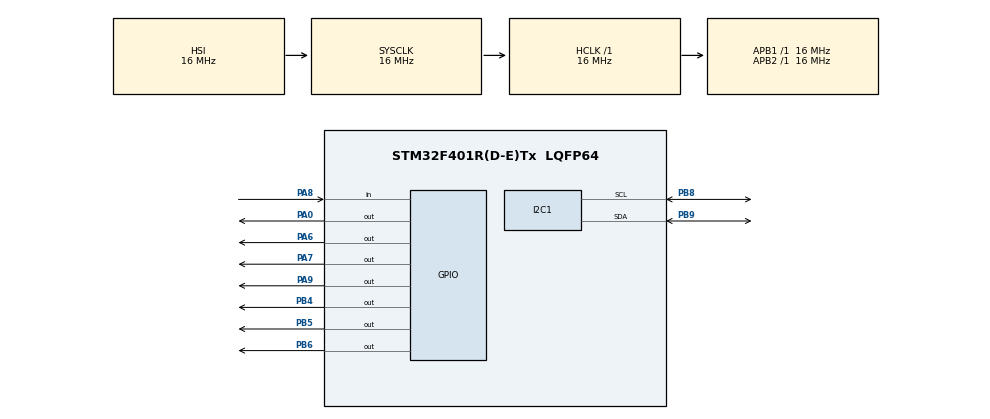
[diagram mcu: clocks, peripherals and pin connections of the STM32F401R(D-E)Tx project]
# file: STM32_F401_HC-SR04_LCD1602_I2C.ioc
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Mcu.Family=STM32F4
Mcu.Name=STM32F401R(D-E)Tx
Mcu.Package=LQFP64
NVIC.PriorityGroup=NVIC_PRIORITYGROUP_4
PA0-WKUP.PinState=GPIO_PIN_SET
PA0-WKUP.Signal=GPIO_Output
PA13.Mode=Serial_Wire
PA13.Signal=SYS_JTMS-SWDIO
PA14.Mode=Serial_Wire
PA14.Signal=SYS_JTCK-SWCLK
PA6.Signal=GPIO_Output
PA7.Signal=GPIO_Output
PA8.Signal=GPIO_Input
PA9.Signal=GPIO_Output
PB4.Signal=GPIO_Output
PB5.Signal=GPIO_Output
PB6.Signal=GPIO_Output
PB8.Mode=I2C
PB8.Signal=I2C1_SCL
PB9.Mode=I2C
PB9.Signal=I2C1_SDA
ProjectManager.HeapSize=0x200
ProjectManager.StackSize=0x400
ProjectManager.TargetToolchain=STM32CubeIDE
RCC.AHBFreq_Value=16000000
RCC.APB1Freq_Value=16000000
RCC.APB2Freq_Value=16000000
RCC.CortexFreq_Value=16000000
RCC.HSE_VALUE=25000000
RCC.HSI_VALUE=16000000
RCC.LSE_VALUE=32768
RCC.SYSCLKFreq_VALUE=16000000
RCC.VCOOutputFreq_Value=192000000
TIM2.Period=65535
TIM2.Prescaler=15
VP_TIM2_VS_ClockSourceINT.Mode=Internal
board=custom

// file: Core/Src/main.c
/* USER CODE BEGIN Header */
/**
  ******************************************************************************
  * @file           : main.c
  * @brief          : Main program body
  ******************************************************************************
  * @attention
  *
  * Copyright (c) 2025 STMicroelectronics.
  * All rights reserved.
  *
  * This software is licensed under terms that can be found in the LICENSE file
  * in the root directory of this software component.
  * If no LICENSE file comes with this software, it is provided AS-IS.
  *
  ******************************************************************************
  */
/* USER CODE END Header */
#include "main.h"

/* USER CODE BEGIN Includes */
#include <stdio.h>
#include <string.h>
#include "../../DelayMicro/Inc/delay_micro.h"
#include "../../Hc_Sr04/Inc/hc_sr04.h"
#include "../../Lcd1602_i2c/Inc/lcd1602_i2c.h"
#include "../../Leds_control/Inc/leds_control.h"
#include "stm32f4xx_hal.h"
/* USER CODE END Includes */

I2C_HandleTypeDef hi2c1;

TIM_HandleTypeDef htim2;

/* USER CODE BEGIN PV */
uint32_t distance  = 0;
/* USER CODE END PV */

void SystemClock_Config(void);
static void MX_GPIO_Init(void);
static void MX_TIM2_Init(void);
static void MX_I2C1_Init(void);

/* USER CODE BEGIN 0 */

// Display 2 messages on LCD1602
static void DisplayMessagesOnLCD1602(uint8_t position1, char * message1, uint8_t position2, char * message2)
{
    Lcd1602ScreenClear();
    Lcd1602SetCursor(0, position1);
    Lcd1602WriteString(message1);
    Lcd1602SetCursor(1, position2);
    Lcd1602WriteString(message2);
}
/* USER CODE END 0 */

int main(void)
{

  /* MCU Configuration--------------------------------------------------------*/

  /* Reset of all peripherals, Initializes the Flash interface and the Systick. */
  HAL_Init();

  /* Configure the system clock */
  SystemClock_Config();

  /* USER CODE BEGIN SysInit */
    // Initialize TIM2 to use for micro-delays
    TIM2MicrosecondsDelayInit();
    // Set TIM handle pointer
    HcSr04SetTimHandlePointer(&htim2);
    // Set GPIO for the HC-SR04 trigger pin
    HC_SR04_GpioItem trigger_gpio_item = {.gpio_type = GPIOA, .gpio_pin = GPIO_PIN_9};
    HcSr04SetGpioTrigger(trigger_gpio_item);
    // Set GPIO for the HC-SR04 echo pin
    HC_SR04_GpioItem echo_gpio_item = {.gpio_type = GPIOA, .gpio_pin = GPIO_PIN_8};
    HcSr04SetGpioEcho(echo_gpio_item);

    // Configure GPIO for red, yellow and green external LEDs
    LedGpioControlLine red_led = {.gpio_type = GPIOB, .gpio_pin = GPIO_PIN_4};
    LedGpioControlLine yellow_led = {.gpio_type = GPIOB, .gpio_pin = GPIO_PIN_5};
    LedGpioControlLine green_led = {.gpio_type = GPIOB, .gpio_pin = GPIO_PIN_6};
    LedsControlConfigureLedsGPIOs(red_led, yellow_led, green_led);
  /* USER CODE END SysInit */

  /* Initialize all configured peripherals */
  MX_GPIO_Init();
  MX_TIM2_Init();
  MX_I2C1_Init();
  /* USER CODE BEGIN 2 */
    // Initiate the trigger pin of the Ultrasonic Ranging Module
    HAL_GPIO_WritePin(trigger_gpio_item.gpio_type, trigger_gpio_item.gpio_pin, GPIO_PIN_RESET);

    // Set LCD1602 Interface type into I2C
    Lcd1602SetInterfaceType(LCD1602_I2C);

    // Set the LCD1602 Display's communication data bus into I2C mode
	GpioItem lcd1602_gpio_data_bus[] =
	{
        {GPIOB, GPIO_PIN_8},  // SCL
        {GPIOB, GPIO_PIN_9},  // SDA
        UNDEFINED_GPIO,
        UNDEFINED_GPIO,
        UNDEFINED_GPIO,
        UNDEFINED_GPIO,
        UNDEFINED_GPIO,
        UNDEFINED_GPIO
    };
    Lcd1602ConfigureI2C(lcd1602_gpio_data_bus);

    // Prepare the initial messages for the LCD1602 Display
    char message1[100];
    char message2[100];
    strcpy(message1,  " *** STM32 ***  ");
    strcpy(message2, "HCSR04 connected");

    // Display the initial messages on LCD1602 for 3 seconds
    DisplayMessagesOnLCD1602(1, message1, 0, message2);
    TIM2MillisecondsDelay(3000);

    /* USER CODE END 2 */

  /* Infinite loop */
  /* USER CODE BEGIN WHILE */
    strcpy(message1,  "*** HC-SR04 ***");
    char distance_str[16];
    while (1)
    {
        // Request the Ultrasonic Ranging Module to evaluate the distance to the object
    	HcSr04Triggert10usHighLevelSignal();
        // Get the distance
    	int8_t result = HcSr04ReadDistance(&distance);
        // Parse the result
    	if (!result)
    	{
            // The echo pulse signal was received by the Ultrasonic Ranging Module in time
    		// Set LEDs' status on distance
    		LedsControlSetLedsOnDistance(distance);
    		// Show the distance on LCD1602
    		sprintf(distance_str, "L = %lu cm", distance);
    	    DisplayMessagesOnLCD1602(0, message1, 3, distance_str);
    	}
    	else if (result > 0)
    	{
            // The distance between the Ultrasonic Ranging Module and the object can not be defined (> MAX_RANGE)
    		// Set LED status according to distance from object
    		LedsControlSetLedsOnDistance(SAFE_DISTANCE);
    		// Show that the distance is greater than Max Range of HC-SR04 on LCD1602
    		sprintf(distance_str, "L > %u cm", MAX_RANGE);
            DisplayMessagesOnLCD1602(0, message1, 3, distance_str);
    	}
    	else if ((result < 0) && (distance == 1))
    	{
            // The distance between the Ultrasonic Ranging Module and the object can not be defined (< MIN_RANGE)
    		// Set LEDs' status according with dangerous distance from object
    		LedsControlSetLedsOnDistance(DANGEROUS_DISTANCE);
    		// Show the distance is less than Min Range of HC-SR04 on LCD1602
    		sprintf(distance_str, "L < %u cm", MIN_RANGE);
    		DisplayMessagesOnLCD1602(0, message1, 4, distance_str);
    	}
    	else if (result < 0)
    	{
    	    // Ultrasonic Ranging Module did not respond
    		// Set LEDs' status according with dangerous distance from object
    		LedsControlSetLedsOnDistance(DANGEROUS_DISTANCE);
    		// Show the Ultrasonic Ranging Module HC-SR04 did not respond
    		sprintf(distance_str, "Did not respond");
    		DisplayMessagesOnLCD1602(0, message1, 4, distance_str);
    	}
    	TIM2MillisecondsDelay(500);
    	// Switch LEDs' OFF
    	LedsControlSwitchLedsOff();
    	TIM2MillisecondsDelay(500);
    /* USER CODE END WHILE */

  }
}

void SystemClock_Config(void)
{
  RCC_OscInitTypeDef RCC_OscInitStruct = {0};
  RCC_ClkInitTypeDef RCC_ClkInitStruct = {0};

  /** Configure the main internal regulator output voltage
  */
  __HAL_RCC_PWR_CLK_ENABLE();
  __HAL_PWR_VOLTAGESCALING_CONFIG(PWR_REGULATOR_VOLTAGE_SCALE2);

  /** Initializes the RCC Oscillators according to the specified parameters
  * in the RCC_OscInitTypeDef structure.
  */
  RCC_OscInitStruct.OscillatorType = RCC_OSCILLATORTYPE_HSI;
  RCC_OscInitStruct.HSIState = RCC_HSI_ON;
  RCC_OscInitStruct.HSICalibrationValue = RCC_HSICALIBRATION_DEFAULT;
  RCC_OscInitStruct.PLL.PLLState = RCC_PLL_NONE;
  if (HAL_RCC_OscConfig(&RCC_OscInitStruct) != HAL_OK)
  {
    Error_Handler();
  }

  /** Initializes the CPU, AHB and APB buses clocks
  */
  RCC_ClkInitStruct.ClockType = RCC_CLOCKTYPE_HCLK|RCC_CLOCKTYPE_SYSCLK
                              |RCC_CLOCKTYPE_PCLK1|RCC_CLOCKTYPE_PCLK2;
  RCC_ClkInitStruct.SYSCLKSource = RCC_SYSCLKSOURCE_HSI;
  RCC_ClkInitStruct.AHBCLKDivider = RCC_SYSCLK_DIV1;
  RCC_ClkInitStruct.APB1CLKDivider = RCC_HCLK_DIV1;
  RCC_ClkInitStruct.APB2CLKDivider = RCC_HCLK_DIV1;

  if (HAL_RCC_ClockConfig(&RCC_ClkInitStruct, FLASH_LATENCY_0) != HAL_OK)
  {
    Error_Handler();
  }
}

static void MX_I2C1_Init(void)
{

  hi2c1.Instance = I2C1;
  hi2c1.Init.ClockSpeed = 100000;
  hi2c1.Init.DutyCycle = I2C_DUTYCYCLE_2;
  hi2c1.Init.OwnAddress1 = 0;
  hi2c1.Init.AddressingMode = I2C_ADDRESSINGMODE_7BIT;
  hi2c1.Init.DualAddressMode = I2C_DUALADDRESS_DISABLE;
  hi2c1.Init.OwnAddress2 = 0;
  hi2c1.Init.GeneralCallMode = I2C_GENERALCALL_DISABLE;
  hi2c1.Init.NoStretchMode = I2C_NOSTRETCH_DISABLE;
  if (HAL_I2C_Init(&hi2c1) != HAL_OK)
  {
    Error_Handler();
  }

}

static void MX_TIM2_Init(void)
{

  TIM_ClockConfigTypeDef sClockSourceConfig = {0};
  TIM_MasterConfigTypeDef sMasterConfig = {0};

  htim2.Instance = TIM2;
  htim2.Init.Prescaler = 15;
  htim2.Init.CounterMode = TIM_COUNTERMODE_UP;
  htim2.Init.Period = 65535;
  htim2.Init.ClockDivision = TIM_CLOCKDIVISION_DIV1;
  htim2.Init.AutoReloadPreload = TIM_AUTORELOAD_PRELOAD_DISABLE;
  if (HAL_TIM_Base_Init(&htim2) != HAL_OK)
  {
    Error_Handler();
  }
  sClockSourceConfig.ClockSource = TIM_CLOCKSOURCE_INTERNAL;
  if (HAL_TIM_ConfigClockSource(&htim2, &sClockSourceConfig) != HAL_OK)
  {
    Error_Handler();
  }
  sMasterConfig.MasterOutputTrigger = TIM_TRGO_RESET;
  sMasterConfig.MasterSlaveMode = TIM_MASTERSLAVEMODE_DISABLE;
  if (HAL_TIMEx_MasterConfigSynchronization(&htim2, &sMasterConfig) != HAL_OK)
  {
    Error_Handler();
  }

}

static void MX_GPIO_Init(void)
{
  GPIO_InitTypeDef GPIO_InitStruct = {0};

  /* GPIO Ports Clock Enable */
  __HAL_RCC_GPIOA_CLK_ENABLE();
  __HAL_RCC_GPIOB_CLK_ENABLE();

  /*Configure GPIO pin Output Level */
  HAL_GPIO_WritePin(GPIOA, GPIO_PIN_0, GPIO_PIN_SET);

  /*Configure GPIO pin Output Level */
  HAL_GPIO_WritePin(GPIOA, GPIO_PIN_6|GPIO_PIN_7|GPIO_PIN_9, GPIO_PIN_RESET);

  /*Configure GPIO pin Output Level */
  HAL_GPIO_WritePin(GPIOB, GPIO_PIN_4|GPIO_PIN_5|GPIO_PIN_6, GPIO_PIN_RESET);

  /*Configure GPIO pins : PA0 PA6 PA7 PA9 */
  GPIO_InitStruct.Pin = GPIO_PIN_0|GPIO_PIN_6|GPIO_PIN_7|GPIO_PIN_9;
  GPIO_InitStruct.Mode = GPIO_MODE_OUTPUT_PP;
  GPIO_InitStruct.Pull = GPIO_NOPULL;
  GPIO_InitStruct.Speed = GPIO_SPEED_FREQ_LOW;
  HAL_GPIO_Init(GPIOA, &GPIO_InitStruct);

  /*Configure GPIO pin : PA8 */
  GPIO_InitStruct.Pin = GPIO_PIN_8;
  GPIO_InitStruct.Mode = GPIO_MODE_INPUT;
  GPIO_InitStruct.Pull = GPIO_NOPULL;
  HAL_GPIO_Init(GPIOA, &GPIO_InitStruct);

  /*Configure GPIO pins : PB4 PB5 PB6 */
  GPIO_InitStruct.Pin = GPIO_PIN_4|GPIO_PIN_5|GPIO_PIN_6;
  GPIO_InitStruct.Mode = GPIO_MODE_OUTPUT_PP;
  GPIO_InitStruct.Pull = GPIO_NOPULL;
  GPIO_InitStruct.Speed = GPIO_SPEED_FREQ_LOW;
  HAL_GPIO_Init(GPIOB, &GPIO_InitStruct);

}

void Error_Handler(void)
{
  __disable_irq();
  while (1)
  {
  }
}
